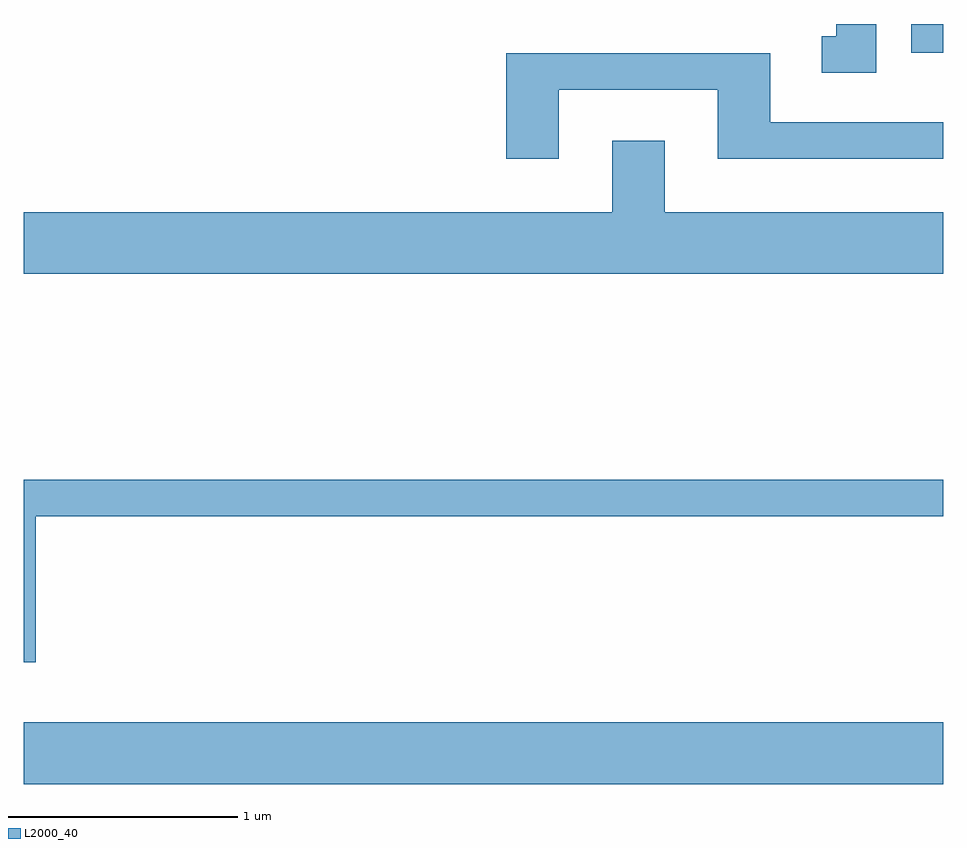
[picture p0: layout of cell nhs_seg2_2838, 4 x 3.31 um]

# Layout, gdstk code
import gdstk
lib = gdstk.Library(unit=1e-6, precision=1e-09)
def R(c, l, rs):  # rectangles x0, y0, x1, y1
    for r in rs: c.add(gdstk.rectangle(r[:2], r[2:], *l))
def P(c, l, *ps):  # polygons
    for p in ps: c.add(gdstk.Polygon(p, *l))
L2000_40 = (2000, 40)

nhs_seg2_2838 = lib.new_cell('nhs_seg2_2838')
R(nhs_seg2_2838, L2000_40, [(267.611,1090.496,271.611,1090.764), (271.471,1093.676,271.611,1093.802)])
P(nhs_seg2_2838, L2000_40, [(271.319,1093.802),(271.146,1093.802),(271.146,1093.749),(271.083,1093.749),(271.083,1093.591),(271.319,1093.591)],
  [(269.939,1093.516),(270.631,1093.516),(270.631,1093.216),(271.611,1093.216),(271.611,1093.374),(270.859,1093.374),(270.859,1093.674),(269.711,1093.674),(269.711,1093.216),(269.939,1093.216)],
  [(271.611,1092.984),(270.399,1092.984),(270.399,1093.294),(270.171,1093.294),(270.171,1092.984),(267.611,1092.984),(267.611,1092.716),(271.611,1092.716)],
  [(267.664,1091.661),(271.611,1091.661),(271.611,1091.819),(267.611,1091.819),(267.611,1091.026),(267.664,1091.026)])

lib.write_gds('nhs_seg2_2838.gds')
